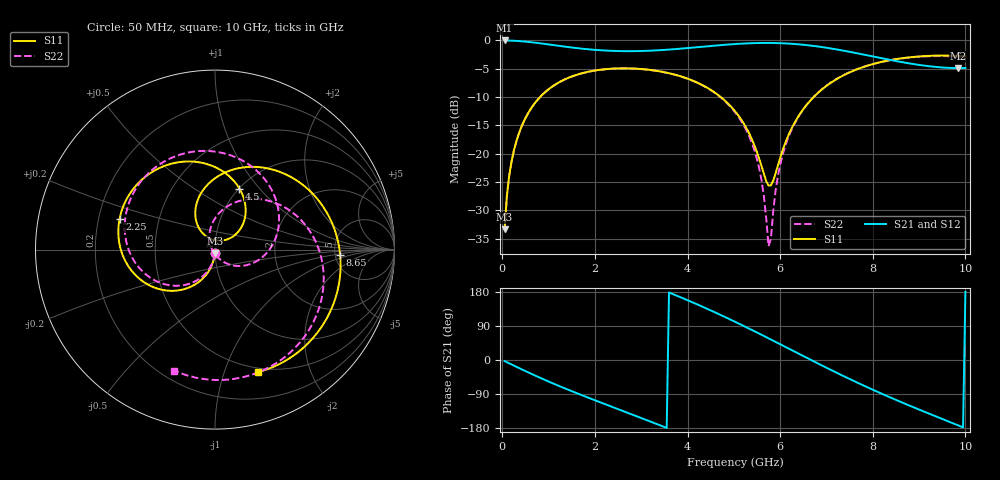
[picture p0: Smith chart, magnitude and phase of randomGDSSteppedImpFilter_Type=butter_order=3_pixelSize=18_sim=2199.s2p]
! freq	dB(S11)	phase(S11)	dB(S12)	phase(S12)
!  dB(S21)	phase(S21)	dB(S22)	phase(S22)
!S-par simulation data
#  GHz  S  DB  R 50
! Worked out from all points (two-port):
!   200 points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, 50 MHz to 10 GHz, reference 50 ohm
!   highest |S21| = 0.00 dB at 50 MHz (marker M1); lowest = -4.9 dB at 9.85 GHz (marker M2)
!   |S21| within 3 dB of the highest: start of sweep to 8.106 GHz
!   lowest |S11| = -33.4 dB at 50 MHz (marker M3), VSWR 1.04, Z = 49.9 - j2.14 ohm
!   |S11| at or under -10 dB: start of sweep to 815.1 MHz; 4.717 GHz to 6.723 GHz (2.006 GHz wide, 35.1 % of centre)
!   |S22| runs from -36.3 to -2.8 dB; largest |S21 - S12| = 0
!   S11 on the Smith chart (normalised r, x): 50 MHz: 1.00, -0.04; 2.25 GHz: 0.29, +0.14; 4.5 GHz: 1.01, +0.79; 8.65 GHz: 5.54, -0.68; 10 GHz: 0.46, -1.31
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0.05  -33.37 -92.6  -0.00 -3.0  -0.00 -3.0  -33.39 -93.1
0.1  -27.36 -95.5  -0.01 -5.9  -0.01 -5.9  -27.38 -96.3
0.2  -21.38 -101.0  -0.04 -11.8  -0.04 -11.8  -21.40 -102.7
0.5  -13.71 -117.3  -0.21 -29.3  -0.21 -29.3  -13.73 -121.6
1.1  -8.02 -147.7  -0.82 -62.1  -0.82 -62.1  -8.04 -157.3
1.75  -5.73 -177.0  -1.48 -94.4  -1.48 -94.4  -5.75 167.1
2.25  -5.06 162.1  -1.80 -117.9  -1.80 -117.9  -5.07 141.0
3.4  -5.46 115.5  -1.72 -172.0  -1.72 -172.0  -5.48 80.4
3.95  -6.60 92.2  -1.39 160.4  -1.39 160.4  -6.63 49.4
4.5  -8.72 68.1  -0.98 130.9  -0.98 130.9  -8.78 16.3
5.05  -12.75 44.9  -0.62 99.5  -0.62 99.5  -12.94 -19.3
5.5  -19.75 37.4  -0.46 72.5  -0.46 72.5  -20.98 -53.4
5.65  -23.66 50.6  -0.44 63.3  -0.44 63.3  -27.61 -73.4
5.75  -25.65 74.6  -0.44 57.2  -0.44 57.2  -36.34 -127.8
5.95  -22.11 120.1  -0.47 44.7  -0.47 44.7  -24.02 119.1
6.1  -18.34 127.2  -0.52 35.4  -0.52 35.4  -18.92 103.8
6.7  -10.19 106.4  -0.95 -2.0  -0.95 -2.0  -10.17 62.0
7.5  -5.64 61.6  -2.01 -50.1  -2.01 -50.1  -5.60 14.5
8.35  -3.52 13.6  -3.40 -97.4  -3.40 -97.4  -3.53 -29.8
8.65  -3.12 -2.6  -3.86 -113.1  -3.86 -113.1  -3.15 -44.3
9.85  -2.73 -63.4  -4.89 -172.8  -4.89 -172.8  -2.86 -101.1
10  -2.81 -70.7  -4.87 179.7  -4.87 179.7  -2.96 -108.5
